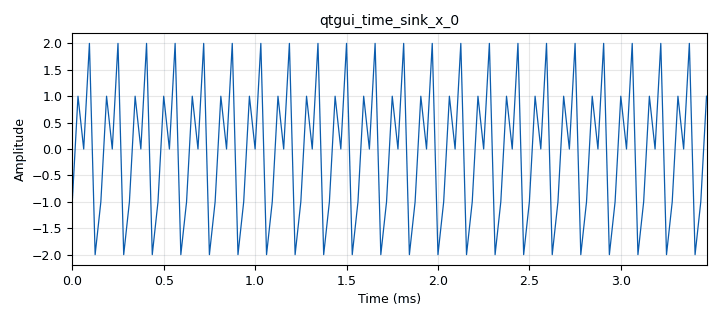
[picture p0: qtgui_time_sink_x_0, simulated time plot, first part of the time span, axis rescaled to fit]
options:
  parameters:
    generate_options: qt_gui
    id: untiled
    output_language: python
    title: AcumuladoryDiferenciador
  states: {}

blocks:
- name: samp_rate
  id: variable
  parameters:
    value: '32000'
  states: {}
- name: blocks_throttle2_0
  id: blocks_throttle2
  parameters:
    samples_per_second: samp_rate
    type: float
  states: {}
- name: blocks_throttle2_0_0
  id: blocks_throttle2
  parameters:
    samples_per_second: samp_rate
    type: float
  states: {}
- name: blocks_vector_source_x_0
  id: blocks_vector_source_x
  parameters:
    repeat: 'True'
    type: float
    vector: (-2, -1, 1,0,2)
  states: {}
- name: epy_block_0
  id: epy_block
  parameters:
    _source_code: |-
      import numpy as np
      from gnuradio import gr

      class blk(gr.sync_block): 
          def __init__(self, example_param=2.0):
              gr.sync_block.__init__(
                  self,
                  name='e_Acum',
                  in_sig=[np.float32],
                  out_sig=[np.float32]
              )
              def work (self , input_items , output_items ):
                  x = input_items[0] # Senial de entrada .
                  y0 = output_items[0] # Senial acumulada
                  y0[:] = np.cumsum(x)
                  return len (y)
    example_param: '1.0'
  states: {}
- name: epy_block_1
  id: epy_block
  parameters:
    _source_code: "\nimport numpy as np\nfrom gnuradio import gr\n\n\nclass blk(gr.sync_block): \n    def __init__(self, example_param=1.0):\n        gr.sync_block.__init__(\n            self,\n            name='e_Diff',\n            in_sig=[np.float32],\n            out_sig=[np.float32]\n        )\n    def work(self, input_items, output_items):\n        x = input_items[0]\n        y = output_items[0] \n        \n        N = len(x)\n        diff = np.cumsum(x) - self.e_Acum\n\n        self.e_Acum = diff[N-1]\n\n        y0[:] = diff\n\n        return len(y)\n\n"
    example_param: ''
  states: {}
- name: qtgui_number_sink_0
  id: qtgui_number_sink
  parameters:
    graph_type: qtgui.NUM_GRAPH_HORIZ
    type: float
  states: {}
- name: qtgui_number_sink_0_0
  id: qtgui_number_sink
  parameters:
    graph_type: qtgui.NUM_GRAPH_HORIZ
    type: float
  states: {}
- name: qtgui_time_sink_x_0
  id: qtgui_time_sink_x
  parameters:
    size: '1024'
    srate: samp_rate
    type: float
  states: {}

connections:
- [blocks_throttle2_0, '0', epy_block_0, '0']
- [blocks_throttle2_0, '0', qtgui_time_sink_x_0, '0']
- [blocks_throttle2_0_0, '0', epy_block_1, '0']
- [blocks_vector_source_x_0, '0', blocks_throttle2_0, '0']
- [blocks_vector_source_x_0, '0', blocks_throttle2_0_0, '0']
- [epy_block_0, '0', qtgui_number_sink_0, '0']
- [epy_block_1, '0', qtgui_number_sink_0_0, '0']

metadata:
  file_format: 1
  grc_version: 3.10.11.0
